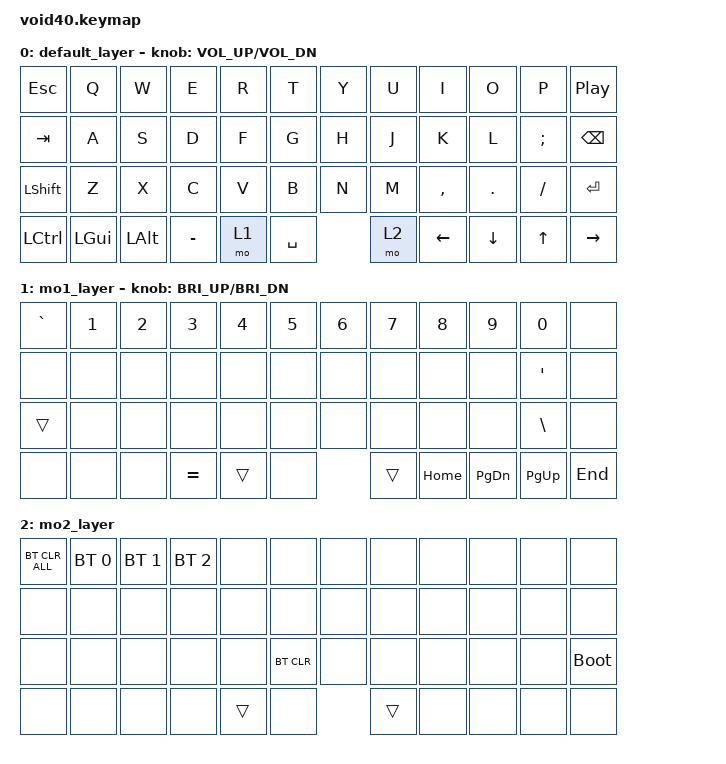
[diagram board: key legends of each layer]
#include <behaviors.dtsi>
#include <dt-bindings/zmk/keys.h>
#include <dt-bindings/zmk/bt.h>

/ {
    keymap {
        compatible = "zmk,keymap";

        default_layer {
            bindings = <
                &kp ESC     &kp Q       &kp W       &kp E       &kp R       &kp T           &kp Y   &kp U   &kp I       &kp O       &kp P       &kp C_PP
                &kp TAB     &kp A       &kp S       &kp D       &kp F       &kp G           &kp H   &kp J   &kp K       &kp L       &kp SEMI    &kp BSPC
                &kp LSHFT   &kp Z       &kp X       &kp C       &kp V       &kp B           &kp N   &kp M   &kp COMMA   &kp DOT     &kp SLASH   &kp RET
                &kp LCTRL   &kp LGUI    &kp LALT    &kp MINUS   &mo 1       &kp SPACE               &mo 2   &kp LEFT    &kp DOWN    &kp UP      &kp RIGHT
            >;

             sensor-bindings = <&inc_dec_kp C_VOL_UP C_VOL_DN>;
        };

        mo1_layer {
            bindings = <
                &kp GRAVE   &kp N1  &kp N2  &kp N3      &kp N4  &kp N5  &kp N6      &kp N7  &kp N8      &kp N9       &kp N0       &none
                &none       &none   &none   &none       &none   &none   &none       &none   &none       &none        &kp SQT      &none
                &trans      &none   &none   &none       &none   &none   &none       &none   &none       &none        &kp BSLH     &none
                &none       &none   &none   &kp EQUAL   &trans  &none               &trans  &kp HOME    &kp PG_DN    &kp PG_UP    &kp END
            >;

             sensor-bindings = <&inc_dec_kp C_BRI_UP C_BRI_DN>;
        };

        mo2_layer {
            bindings = <
                &bt BT_CLR_ALL   &bt BT_SEL 0    &bt BT_SEL 1    &bt BT_SEL 2     &none     &none    &none      &none       &none    &none    &none      &none
                &none    &none   &none           &none           &none       &none          &none      &none       &none    &none    &none      &none
                &none    &none   &none           &none           &none       &bt BT_CLR     &none      &none       &none    &none    &none      &bootloader
                &none    &none   &none           &none           &trans      &none                     &trans      &none    &none    &none      &none
            >;
        };
    };
};
